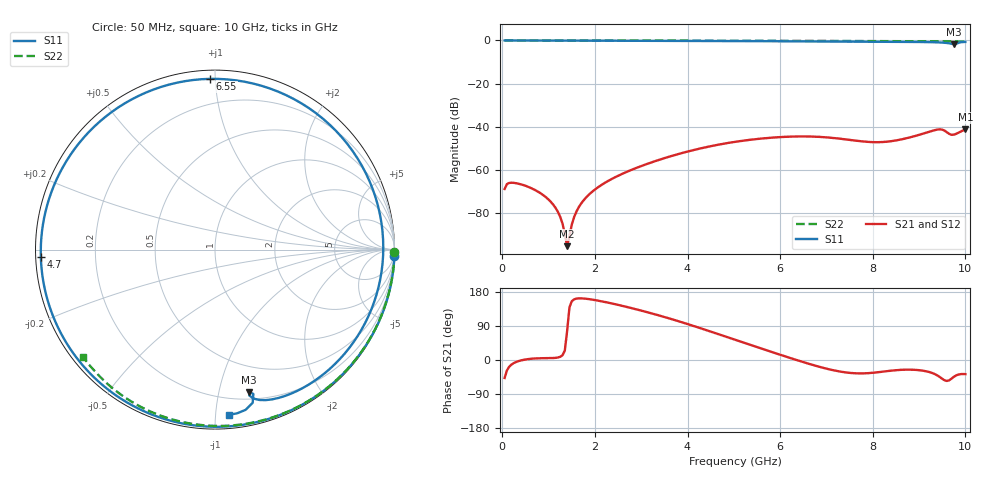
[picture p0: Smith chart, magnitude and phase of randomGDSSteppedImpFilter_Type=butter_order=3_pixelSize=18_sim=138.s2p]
! freq	dB(S11)	phase(S11)	dB(S12)	phase(S12)
!  dB(S21)	phase(S21)	dB(S22)	phase(S22)
!S-par simulation data
#  GHz  S  DB  R 50
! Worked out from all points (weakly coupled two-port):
!   200 points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, 50 MHz to 10 GHz, reference 50 ohm
!   highest |S21| = -41.28 dB at 10 GHz (marker M1); lowest = -95.6 dB at 1.4 GHz (marker M2)
!   lowest |S11| = -1.8 dB at 9.75 GHz (marker M3), VSWR 9.87, Z = 13 - j61.8 ohm
!   |S11| at or under -10 dB: nowhere
!   |S22| runs from -0.5 to 0.0 dB; largest |S21 - S12| = 0
!   S11 on the Smith chart (normalised r, x): 50 MHz: 0, -59; 4.7 GHz: 0.01, -0.02; 6.55 GHz: 0.05, +0.97; 10 GHz: 0.09, -1.09
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0.05  -0.00 -1.9  -69.02 -47.4  -69.02 -47.4  -0.00 -0.8
0.15  -0.00 -5.8  -66.20 -17.7  -66.20 -17.7  -0.00 -2.5
0.5  -0.02 -19.4  -67.51 1.4  -67.51 1.4  -0.01 -8.2
0.95  -0.04 -36.6  -72.97 4.9  -72.97 4.9  -0.02 -15.4
1.2  -0.06 -46.0  -79.59 6.6  -79.59 6.6  -0.02 -19.4
1.4  -0.07 -53.5  -95.57 76.8  -95.57 76.8  -0.03 -22.6
1.6  -0.08 -61.0  -79.55 162.0  -79.55 162.0  -0.03 -25.8
1.75  -0.08 -66.6  -74.43 162.3  -74.43 162.3  -0.04 -28.2
2.35  -0.11 -88.6  -64.50 149.6  -64.50 149.6  -0.05 -37.6
3.4  -0.16 -127.0  -55.37 117.0  -55.37 117.0  -0.07 -53.5
4.7  -0.25 -177.6  -48.29 66.9  -48.29 66.9  -0.11 -72.4
5.05  -0.28 167.4  -47.03 52.5  -47.03 52.5  -0.12 -77.3
5.75  -0.35 134.5  -45.28 23.9  -45.28 23.9  -0.15 -86.9
6.55  -0.43 91.6  -44.59 -7.4  -44.59 -7.4  -0.18 -97.5
6.7  -0.44 83.0  -44.66 -12.9  -44.66 -12.9  -0.19 -99.5
7.15  -0.48 56.4  -45.30 -27.1  -45.30 -27.1  -0.22 -105.3
7.6  -0.52 29.6  -46.47 -34.9  -46.47 -34.9  -0.25 -111.0
8.35  -0.59 -13.0  -46.93 -28.8  -46.93 -28.8  -0.31 -120.4
9.15  -0.75 -53.1  -42.89 -29.7  -42.89 -29.7  -0.38 -130.3
9.45  -0.93 -66.9  -41.30 -45.2  -41.30 -45.2  -0.42 -133.9
9.75  -1.77 -76.5  -43.77 -44.4  -43.77 -44.4  -0.44 -137.6
10  -0.69 -85.0  -41.28 -37.3  -41.28 -37.3  -0.47 -140.7
